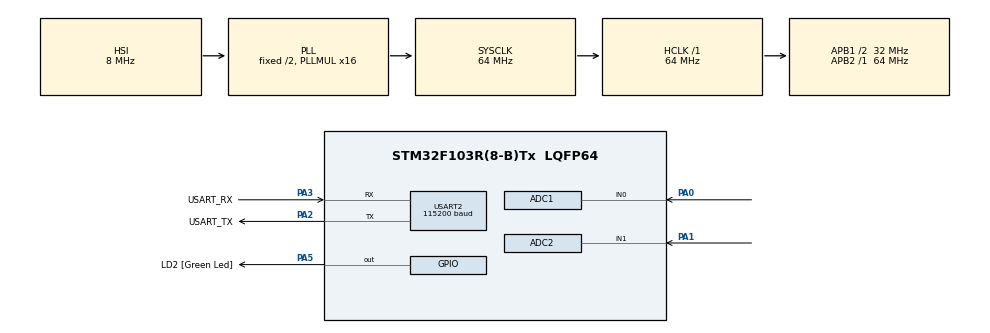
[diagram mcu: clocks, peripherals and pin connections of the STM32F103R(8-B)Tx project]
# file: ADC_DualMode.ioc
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ADC1.Channel-0\#ChannelRegularConversion=ADC_CHANNEL_0
ADC1.ExternalTrigConv=ADC1_2_EXTERNALTRIGCONV_T3_TRGO
ADC1.Mode=ADC_DUALMODE_REGSIMULT
ADC1.NbrOfConversionFlag=1
ADC1.Rank-0\#ChannelRegularConversion=1
ADC1.SamplingTime-0\#ChannelRegularConversion=ADC_SAMPLETIME_55CYCLES_5
ADC1.master=1
ADC2.Channel-0\#ChannelRegularConversion=ADC_CHANNEL_1
ADC2.NbrOfConversionFlag=1
ADC2.Rank-0\#ChannelRegularConversion=1
ADC2.SamplingTime-0\#ChannelRegularConversion=ADC_SAMPLETIME_55CYCLES_5
Dma.ADC1.0.Direction=DMA_PERIPH_TO_MEMORY
Dma.ADC1.0.Instance=DMA1_Channel1
Dma.ADC1.0.MemDataAlignment=DMA_MDATAALIGN_WORD
Dma.ADC1.0.MemInc=DMA_MINC_ENABLE
Dma.ADC1.0.Mode=DMA_CIRCULAR
Dma.ADC1.0.PeriphDataAlignment=DMA_PDATAALIGN_WORD
Dma.ADC1.0.PeriphInc=DMA_PINC_DISABLE
Dma.ADC1.0.Priority=DMA_PRIORITY_MEDIUM
Dma.Request0=ADC1
Mcu.Family=STM32F1
Mcu.Name=STM32F103R(8-B)Tx
Mcu.Package=LQFP64
NVIC.DMA1_Channel1_IRQn=true\:1\:0\:false\:false\:true\:true\:true\:true
NVIC.PriorityGroup=NVIC_PRIORITYGROUP_4
PA0-WKUP.Mode=IN0
PA0-WKUP.Signal=ADC1_IN0
PA1.Mode=IN1
PA1.Signal=ADC2_IN1
PA13.GPIO_Label=TMS
PA13.Mode=Serial_Wire
PA13.Signal=SYS_JTMS-SWDIO
PA14.GPIO_Label=TCK
PA14.Mode=Serial_Wire
PA14.Signal=SYS_JTCK-SWCLK
PA2.GPIO_Label=USART_TX
PA2.GPIO_Mode=GPIO_MODE_AF_PP
PA2.GPIO_PuPd=GPIO_NOPULL
PA2.GPIO_Speed=GPIO_SPEED_FREQ_LOW
PA2.Mode=Asynchronous
PA2.Signal=USART2_TX
PA3.GPIO_Label=USART_RX
PA3.GPIO_PuPd=GPIO_NOPULL
PA3.GPIO_Speed=GPIO_SPEED_FREQ_LOW
PA3.Mode=Asynchronous
PA3.Signal=USART2_RX
PA5.GPIO_Label=LD2 [Green Led]
PA5.GPIO_ModeDefaultOutputPP=GPIO_MODE_OUTPUT_PP
PA5.GPIO_PuPd=GPIO_NOPULL
PA5.GPIO_Speed=GPIO_SPEED_FREQ_LOW
PA5.Signal=GPIO_Output
PB3.GPIO_Label=SWO
PB3.Signal=SYS_JTDO-TRACESWO
PC14-OSC32_IN.Mode=LSE-External-Oscillator
PC14-OSC32_IN.Signal=RCC_OSC32_IN
PC15-OSC32_OUT.Mode=LSE-External-Oscillator
PC15-OSC32_OUT.Signal=RCC_OSC32_OUT
PD0-OSC_IN.Mode=HSE-External-Clock-Source
PD0-OSC_IN.Signal=RCC_OSC_IN
PD1-OSC_OUT.Mode=HSE-External-Clock-Source
PD1-OSC_OUT.Signal=RCC_OSC_OUT
ProjectManager.HeapSize=0x200
ProjectManager.StackSize=0x400
ProjectManager.TargetToolchain=STM32CubeIDE
RCC.ADCPresc=RCC_ADCPCLK2_DIV6
RCC.AHBFreq_Value=64000000
RCC.APB1CLKDivider=RCC_HCLK_DIV2
RCC.APB1Freq_Value=32000000
RCC.APB1TimFreq_Value=64000000
RCC.APB2Freq_Value=64000000
RCC.APB2TimFreq_Value=64000000
RCC.HCLKFreq_Value=64000000
RCC.PLLMUL=RCC_PLL_MUL16
RCC.RTCClockSelection=RCC_RTCCLKSOURCE_LSE
RCC.SYSCLKFreq_VALUE=64000000
RCC.SYSCLKSource=RCC_SYSCLKSOURCE_PLLCLK
RCC.USBFreq_Value=64000000
TIM3.Period=999
TIM3.Prescaler=63
TIM3.TIM_MasterOutputTrigger=TIM_TRGO_UPDATE
USART2.BaudRate=115200
USART2.VirtualMode=VM_ASYNC
VP_TIM3_VS_ClockSourceINT.Mode=Internal
board=NUCLEO-F103RB

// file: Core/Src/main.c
/* USER CODE BEGIN Header */
/**
 ******************************************************************************
 * @file           : main.c
 * @brief          : Main program body
 ******************************************************************************
 * @attention
 *
 * Copyright (c) 2026 STMicroelectronics.
 * All rights reserved.
 *
 * This software is licensed under terms that can be found in the LICENSE file
 * in the root directory of this software component.
 * If no LICENSE file comes with this software, it is provided AS-IS.
 *
 ******************************************************************************
 */
/**
 * 02_ADC_DualMode_c  —  [계층: HAL]  ADC 듀얼 모드(동시 정규 변환): ADC1 과 ADC2 가 같은 순간에 두 신호를 샘플링
 *
 * 왜 듀얼 모드인가
 *   ADC 하나로 채널 두 개를 번갈아 읽으면 두 샘플 사이에 변환 시간만큼 "시간차(skew)"가 생긴다.
 *   전압/전류의 순간 곱(전력), 위상 차, I/Q 신호처럼 **동시성**이 중요한 측정에는 두 ADC 를 동시에 트리거해야 한다.
 *   F103 은 ADC1 + ADC2 두 개를 가지고 있어 "정규 동시 모드"(ADC_DUALMODE_REGSIMULT)를 쓸 수 있다 (RM0008 11.9.2 Regular simultaneous mode).
 *
 * 동작 원리
 *   마스터 ADC1 이 TIM3 TRGO(1kHz)로 트리거되면 슬레이브 ADC2 도 같은 순간에 변환을 시작한다.
 *   두 결과는 ADC1->DR 하나에 32비트로 합쳐진다:  하위 16비트 = ADC1(CH0, PA0),  상위 16비트 = ADC2(CH1, PA1)
 *   -> DMA 가 32비트(WORD) 단위로 버퍼에 저장하므로 DMA 한 번으로 두 채널 데이터를 얻는다 (ADC2 는 자기 DMA 가 없다).
 *   (ADC->CR1.DUALMOD[19:16] = 0110 : 정규 동시 모드)
 *
 * 이 예제
 *   PA0, PA1 의 전압을 1kHz 로 동시 샘플링, DMA 원형 버퍼(64워드), 반/전체 콜백에서 채널별 평균 계산, 1초마다 UART(115200) 출력.
 *   두 입력을 같은 신호원에 연결하면 두 값이 거의 같아야 한다(동시 샘플이므로). 다른 전압에 연결하면 각자의 값이 나온다.
 *
 * ISR vs 콜백
 *   DMA1_Channel1_IRQHandler (stm32f1xx_it.c, 진짜 ISR) -> HAL_DMA_IRQHandler()
 *     -> HAL_ADC_ConvHalfCpltCallback() / HAL_ADC_ConvCpltCallback() (이 파일)
 */
/* USER CODE END Header */
#include "main.h"

/* USER CODE BEGIN Includes */
#include <stdio.h>
#include <string.h>
/* USER CODE END Includes */

/* USER CODE BEGIN PD */
#define N_WORDS 64                              /* 원형 버퍼 워드 수 (반 = 32) */

/* USER CODE END PD */

ADC_HandleTypeDef hadc1;
ADC_HandleTypeDef hadc2;
DMA_HandleTypeDef hdma_adc1;
TIM_HandleTypeDef htim3;
UART_HandleTypeDef huart2;

/* USER CODE BEGIN PV */
/* hadc1 = 마스터(ADC1), hadc2 = 슬레이브(ADC2) */
static uint32_t buf[N_WORDS];                   /* [ADC2:ADC1] 32비트 워드 */
static volatile uint32_t avg1, avg2, half_events, full_events;
/* USER CODE END PV */

void SystemClock_Config(void);
static void MX_GPIO_Init(void);
static void MX_DMA_Init(void);
static void MX_ADC1_Init(void);
static void MX_ADC2_Init(void);
static void MX_TIM3_Init(void);
static void MX_USART2_UART_Init(void);

/* USER CODE BEGIN 0 */
/* 반 버퍼(32워드)에서 채널별 평균. ISR 문맥이므로 짧게 */
static void process_half(const uint32_t *p)
{
    uint32_t s1 = 0, s2 = 0;
    for (uint32_t i = 0; i < N_WORDS / 2; i++)
    {
        s1 += p[i] & 0xFFFFu;                   /* 하위 16비트 = ADC1 */
        s2 += p[i] >> 16;                       /* 상위 16비트 = ADC2 */
    }
    avg1 = s1 / (N_WORDS / 2);
    avg2 = s2 / (N_WORDS / 2);
}
/* USER CODE END 0 */

int main(void)
{

  /* MCU Configuration--------------------------------------------------------*/

  /* Reset of all peripherals, Initializes the Flash interface and the Systick. */
  HAL_Init();

  /* Configure the system clock */
  SystemClock_Config();

  /* Initialize all configured peripherals */
  MX_GPIO_Init();
  MX_DMA_Init();
  MX_ADC1_Init();
  MX_ADC2_Init();
  MX_TIM3_Init();
  MX_USART2_UART_Init();
  /* USER CODE BEGIN 2 */
  HAL_ADCEx_Calibration_Start(&hadc1);
  HAL_ADCEx_Calibration_Start(&hadc2);
  /* ADC2 를 먼저 켜고(슬레이브 대기), ADC1 이 트리거를 받을 때 둘이 함께 변환한다. 결과는 32비트 워드로 DMA 전송 */
  if (HAL_ADCEx_MultiModeStart_DMA(&hadc1, buf, N_WORDS) != HAL_OK) Error_Handler();
  if (HAL_TIM_Base_Start(&htim3) != HAL_OK) Error_Handler();              /* TRGO 1kHz */

  char msg[96];
  uint32_t last_h = 0;
  /* USER CODE END 2 */

  /* Infinite loop */
  while (1)
  {

    /* USER CODE BEGIN 3 */
    HAL_Delay(1000);
    uint32_t h = half_events;
    int n = snprintf(msg, sizeof msg, "ADC1(PA0)=%4lu  ADC2(PA1)=%4lu  diff=%+ld  (half events %lu/s, full %lu)\r\n",
                     (unsigned long)avg1, (unsigned long)avg2, (long)avg1 - (long)avg2,
                     (unsigned long)(h - last_h), (unsigned long)full_events);
    last_h = h;
    HAL_UART_Transmit(&huart2, (uint8_t *)msg, (uint16_t)n, 100);
  }
  /* USER CODE END 3 */
}

void SystemClock_Config(void)
{
  RCC_OscInitTypeDef RCC_OscInitStruct = {0};
  RCC_ClkInitTypeDef RCC_ClkInitStruct = {0};
  RCC_PeriphCLKInitTypeDef PeriphClkInit = {0};

  /** Initializes the RCC Oscillators according to the specified parameters
  * in the RCC_OscInitTypeDef structure.
  */
  RCC_OscInitStruct.OscillatorType = RCC_OSCILLATORTYPE_HSI;
  RCC_OscInitStruct.HSIState = RCC_HSI_ON;
  RCC_OscInitStruct.HSICalibrationValue = RCC_HSICALIBRATION_DEFAULT;
  RCC_OscInitStruct.PLL.PLLState = RCC_PLL_ON;
  RCC_OscInitStruct.PLL.PLLSource = RCC_PLLSOURCE_HSI_DIV2;
  RCC_OscInitStruct.PLL.PLLMUL = RCC_PLL_MUL16;
  if (HAL_RCC_OscConfig(&RCC_OscInitStruct) != HAL_OK)
  {
    Error_Handler();
  }

  /** Initializes the CPU, AHB and APB buses clocks
  */
  RCC_ClkInitStruct.ClockType = RCC_CLOCKTYPE_HCLK|RCC_CLOCKTYPE_SYSCLK
                              |RCC_CLOCKTYPE_PCLK1|RCC_CLOCKTYPE_PCLK2;
  RCC_ClkInitStruct.SYSCLKSource = RCC_SYSCLKSOURCE_PLLCLK;
  RCC_ClkInitStruct.AHBCLKDivider = RCC_SYSCLK_DIV1;
  RCC_ClkInitStruct.APB1CLKDivider = RCC_HCLK_DIV2;
  RCC_ClkInitStruct.APB2CLKDivider = RCC_HCLK_DIV1;

  if (HAL_RCC_ClockConfig(&RCC_ClkInitStruct, FLASH_LATENCY_2) != HAL_OK)
  {
    Error_Handler();
  }
  PeriphClkInit.PeriphClockSelection = RCC_PERIPHCLK_ADC;
  PeriphClkInit.AdcClockSelection = RCC_ADCPCLK2_DIV6;
  if (HAL_RCCEx_PeriphCLKConfig(&PeriphClkInit) != HAL_OK)
  {
    Error_Handler();
  }
}

static void MX_ADC1_Init(void)
{

  ADC_MultiModeTypeDef multimode = {0};
  ADC_ChannelConfTypeDef sConfig = {0};

  /** Common config
  */
  hadc1.Instance = ADC1;
  hadc1.Init.ScanConvMode = ADC_SCAN_DISABLE;
  hadc1.Init.ContinuousConvMode = DISABLE;
  hadc1.Init.DiscontinuousConvMode = DISABLE;
  hadc1.Init.ExternalTrigConv = ADC_EXTERNALTRIGCONV_T3_TRGO;
  hadc1.Init.DataAlign = ADC_DATAALIGN_RIGHT;
  hadc1.Init.NbrOfConversion = 1;
  if (HAL_ADC_Init(&hadc1) != HAL_OK)
  {
    Error_Handler();
  }

  /** Configure the ADC multi-mode
  */
  multimode.Mode = ADC_DUALMODE_REGSIMULT;
  if (HAL_ADCEx_MultiModeConfigChannel(&hadc1, &multimode) != HAL_OK)
  {
    Error_Handler();
  }

  /** Configure Regular Channel
  */
  sConfig.Channel = ADC_CHANNEL_0;
  sConfig.Rank = ADC_REGULAR_RANK_1;
  sConfig.SamplingTime = ADC_SAMPLETIME_55CYCLES_5;
  if (HAL_ADC_ConfigChannel(&hadc1, &sConfig) != HAL_OK)
  {
    Error_Handler();
  }
  /* USER CODE BEGIN ADC1_Init 2 */
  /* [설정 요약 -- 레지스터 관점] 마스터 ADC1
   *  ADC 클럭 : PCLK2(64MHz)/6 = 10.67MHz (SystemClock_Config 의 RCC_ADCPCLK2_DIV6)
   *  트리거   : TIM3 TRGO (CR2.EXTSEL=100 + EXTTRIG) -> 1kHz 로 변환 시작
   *  듀얼 모드: ADC1->CR1.DUALMOD[19:16] = 0110 (정규 동시 모드). 결과는 ADC1->DR 에 [ADC2:ADC1] 32비트로 합쳐짐
   *  DMA      : DMA1_Channel1 원형, 32비트(WORD) -> buf[] (MX_DMA_Init / HAL_ADC_MspInit) */
  /* USER CODE END ADC1_Init 2 */

}

static void MX_ADC2_Init(void)
{

  ADC_ChannelConfTypeDef sConfig = {0};

  /** Common config
  */
  hadc2.Instance = ADC2;
  hadc2.Init.ScanConvMode = ADC_SCAN_DISABLE;
  hadc2.Init.ContinuousConvMode = DISABLE;
  hadc2.Init.DiscontinuousConvMode = DISABLE;
  hadc2.Init.ExternalTrigConv = ADC_SOFTWARE_START;
  hadc2.Init.DataAlign = ADC_DATAALIGN_RIGHT;
  hadc2.Init.NbrOfConversion = 1;
  if (HAL_ADC_Init(&hadc2) != HAL_OK)
  {
    Error_Handler();
  }

  /** Configure Regular Channel
  */
  sConfig.Channel = ADC_CHANNEL_1;
  sConfig.Rank = ADC_REGULAR_RANK_1;
  sConfig.SamplingTime = ADC_SAMPLETIME_55CYCLES_5;
  if (HAL_ADC_ConfigChannel(&hadc2, &sConfig) != HAL_OK)
  {
    Error_Handler();
  }
  /* USER CODE BEGIN ADC2_Init 2 */
  /* [설정 요약] 슬레이브 ADC2: 소프트웨어 시작으로 설정하고 실제 변환 시작은 마스터가 동시 트리거한다.
   *  샘플 시간은 마스터(55.5 사이클)와 같아야 두 변환이 동기가 맞는다. 자체 DMA 는 없다(ADC1->DR 의 상위 16비트로 전달). */
  /* USER CODE END ADC2_Init 2 */

}

static void MX_TIM3_Init(void)
{

  TIM_ClockConfigTypeDef sClockSourceConfig = {0};
  TIM_MasterConfigTypeDef sMasterConfig = {0};

  htim3.Instance = TIM3;
  htim3.Init.Prescaler = 63;
  htim3.Init.CounterMode = TIM_COUNTERMODE_UP;
  htim3.Init.Period = 999;
  htim3.Init.ClockDivision = TIM_CLOCKDIVISION_DIV1;
  htim3.Init.AutoReloadPreload = TIM_AUTORELOAD_PRELOAD_DISABLE;
  if (HAL_TIM_Base_Init(&htim3) != HAL_OK)
  {
    Error_Handler();
  }
  sClockSourceConfig.ClockSource = TIM_CLOCKSOURCE_INTERNAL;
  if (HAL_TIM_ConfigClockSource(&htim3, &sClockSourceConfig) != HAL_OK)
  {
    Error_Handler();
  }
  sMasterConfig.MasterOutputTrigger = TIM_TRGO_UPDATE;
  sMasterConfig.MasterSlaveMode = TIM_MASTERSLAVEMODE_DISABLE;
  if (HAL_TIMEx_MasterConfigSynchronization(&htim3, &sMasterConfig) != HAL_OK)
  {
    Error_Handler();
  }
  /* USER CODE BEGIN TIM3_Init 2 */
  /* [설정 요약 -- 레지스터 관점] TIM3: PSC=63 (64MHz/64 = 1MHz), ARR=999 -> 1kHz 업데이트 이벤트
   *  TIM3->CR2.MMS = 010 (업데이트 이벤트를 TRGO 로 출력) -> ADC1/ADC2 외부 트리거(T3_TRGO) */
  /* USER CODE END TIM3_Init 2 */

}

static void MX_USART2_UART_Init(void)
{

  huart2.Instance = USART2;
  huart2.Init.BaudRate = 115200;
  huart2.Init.WordLength = UART_WORDLENGTH_8B;
  huart2.Init.StopBits = UART_STOPBITS_1;
  huart2.Init.Parity = UART_PARITY_NONE;
  huart2.Init.Mode = UART_MODE_TX_RX;
  huart2.Init.HwFlowCtl = UART_HWCONTROL_NONE;
  huart2.Init.OverSampling = UART_OVERSAMPLING_16;
  if (HAL_UART_Init(&huart2) != HAL_OK)
  {
    Error_Handler();
  }

}

static void MX_DMA_Init(void)
{

  /* DMA controller clock enable */
  __HAL_RCC_DMA1_CLK_ENABLE();

  /* DMA interrupt init */
  /* DMA1_Channel1_IRQn interrupt configuration */
  HAL_NVIC_SetPriority(DMA1_Channel1_IRQn, 1, 0);
  HAL_NVIC_EnableIRQ(DMA1_Channel1_IRQn);

}

static void MX_GPIO_Init(void)
{
  GPIO_InitTypeDef GPIO_InitStruct = {0};

  /* GPIO Ports Clock Enable */
  __HAL_RCC_GPIOC_CLK_ENABLE();
  __HAL_RCC_GPIOD_CLK_ENABLE();
  __HAL_RCC_GPIOA_CLK_ENABLE();
  __HAL_RCC_GPIOB_CLK_ENABLE();

  /*Configure GPIO pin Output Level */
  HAL_GPIO_WritePin(LD2_GPIO_Port, LD2_Pin, GPIO_PIN_RESET);

  /*Configure GPIO pin : LD2_Pin */
  GPIO_InitStruct.Pin = LD2_Pin;
  GPIO_InitStruct.Mode = GPIO_MODE_OUTPUT_PP;
  GPIO_InitStruct.Pull = GPIO_NOPULL;
  GPIO_InitStruct.Speed = GPIO_SPEED_FREQ_LOW;
  HAL_GPIO_Init(LD2_GPIO_Port, &GPIO_InitStruct);

}

/* USER CODE BEGIN 4 */
/* ------------------------------------------------------------------------- */
/* HAL 콜백 (ISR 문맥)                                                          */
/* ------------------------------------------------------------------------- */
void HAL_ADC_ConvHalfCpltCallback(ADC_HandleTypeDef *hadc)
{
    if (hadc->Instance == ADC1) { process_half(&buf[0]); half_events++; }
}
void HAL_ADC_ConvCpltCallback(ADC_HandleTypeDef *hadc)
{
    if (hadc->Instance == ADC1) { process_half(&buf[N_WORDS / 2]); full_events++; }
}
/* USER CODE END 4 */

void Error_Handler(void)
{
  __disable_irq();
  while (1) {
  }
}
#ifdef USE_FULL_ASSERT
/**
  * @brief  Reports the name of the source file and the source line number
  *         where the assert_param error has occurred.
  * @param  file: pointer to the source file name
  * @param  line: assert_param error line source number
  * @retval None
  */
void assert_failed(uint8_t *file, uint32_t line)
{
  /* USER CODE BEGIN 6 */
  /* User can add his own implementation to report the file name and line
     number, ex: printf("Wrong parameters value: file %s on line %d\r\n", file,
     line) */
  /* USER CODE END 6 */
}
#endif /* USE_FULL_ASSERT */
